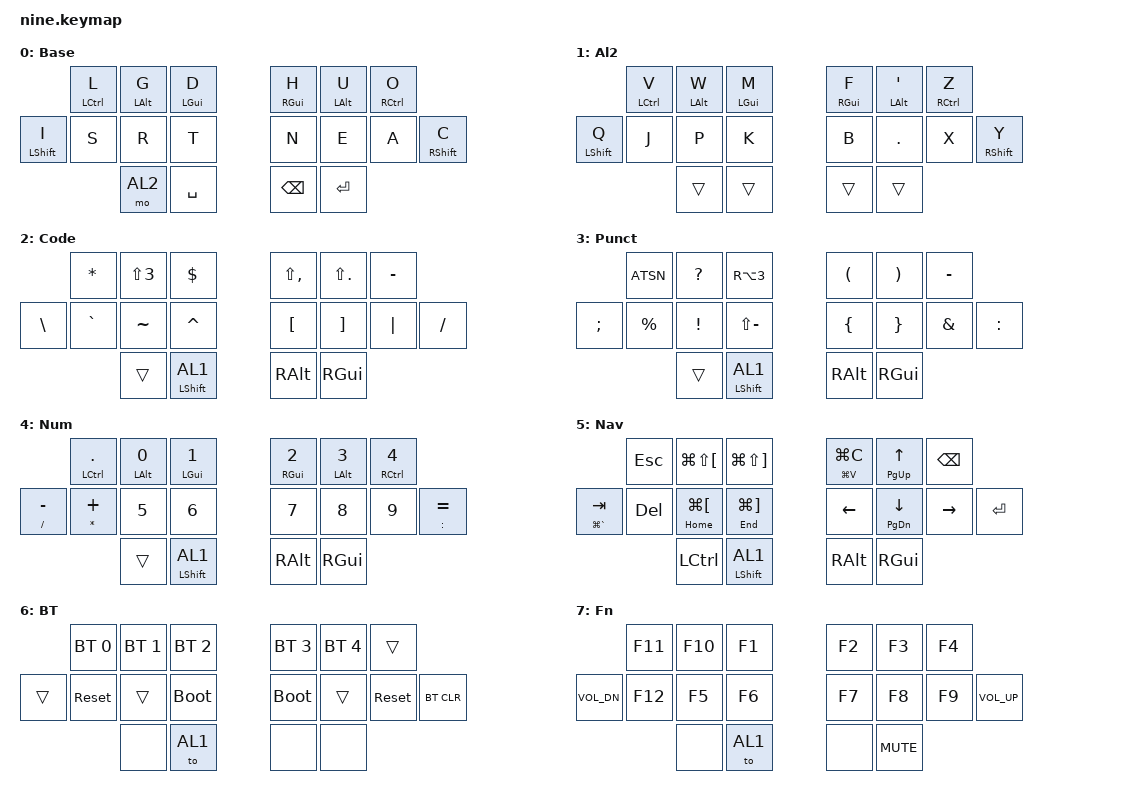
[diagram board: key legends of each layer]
/*
 * Copyright (c) 2020 The ZMK Contributors
 *
 * SPDX-License-Identifier: MIT
 */

#include <behaviors.dtsi>
#include <dt-bindings/zmk/keys.h>
#include <dt-bindings/zmk/bt.h>

&mt {
    tapping-term-ms = <201>;
    flavor = "tap-preferred";
 };
&sk {
     release-after-ms = <2000>;
     quick-release;
 };
&sl {
    release-after-ms = <2000>;
};

/* Layers */
#define AL1 0
#define AL2 1
#define SM1 2
#define SM2 3
#define NUM 4
#define SYS 5
#define BT 6
#define FUN 7
/ { 
    combos {
        compatible = "zmk,combos";
        combo_esc {
            timeout-ms = <30>;
            key-positions = <7 8 9>;
            bindings = <&kp ESC>;
        };
//        combo_sys {
//            timeout-ms = <30>;
//            key-positions = <3 4 5>;
//            bindings = <&to SYS>;
//        };
//        combo_caps {
//            timeout-ms = <30>;
//            key-positions = <10 11 12>;
//            bindings = <&caps_word>;
//        };
//        combo_num {
//            timeout-ms = <30>;
//            key-positions = <0 1 2>;
//            bindings = <&sl NUM>;
//        };
//        combo_al2 {
//            timeout-ms = <30>;
//            key-positions = <7 8 9>;
//            bindings = <&sl AL2>;
//        };
//        combo_bt  {
//            timeout-ms = <10>;
//            key-positions = <11 12>;
//            bindings = <&to BT>;
//            layers = <SM1>;
//        };
//        combo_fun  {
//            timeout-ms = <10>;
//            key-positions = <7 8>;
//            bindings = <&to FUN>;
//            layers = <AL1>;
//        };
    };

    behaviors {

        l2: l2 {
            compatible = "zmk,behavior-hold-tap";
            #binding-cells = <2>;
            tapping_term_ms = <135>;
            quick_tap_ms = <0>;
            flavor = "tap-preferred";
            bindings = <&kp>, <&kp>;
        };
        bhm: balanced_homerow_mods {
            compatible = "zmk,behavior-hold-tap";
            #binding-cells = <2>;
            tapping-term-ms = <250>;
            quick-tap-ms = <0>;
            flavor = "balanced";
            bindings = <&kp>, <&kp>;
        };
        hm_l: homerow_mods_left {
            compatible = "zmk,behavior-hold-tap";
            label = "HOMEROW_MODS_L";
            #binding-cells = <2>;
            tapping-term-ms = <300>;
            quick-tap-ms = <250>;
            flavor = "tap-preferred";
            bindings = <&kp>, <&kp>;
            hold-trigger-key-positions = <3 4 5 10 11 12 13 14>; // right hand
        };
        hm_r: homerow_mods_right {
            compatible = "zmk,behavior-hold-tap";
            label = "HOMEROW_MODS_R";
            #binding-cells = <2>;
            tapping-term-ms = <300>;
            quick-tap-ms = <250>;
            flavor = "tap-preferred";
            bindings = <&kp>, <&kp>;
        hold-trigger-key-positions = <0 1 2 6 7 8 9>; // left hand
        };
        sr: shift_layer {
            compatible = "zmk,behavior-hold-tap";
            label = "SHIFT_LAYER";
            #binding-cells = <2>;
            tapping-term-ms = <300>;
            quick_tap_ms = <0>;
            flavor = "tap-preferred";
            bindings = <&kp>, <&to>;
        retro-tap;
        };
        hl_l: homerow_layers_left {
            compatible = "zmk,behavior-hold-tap";
            label = "HOMEROW_LAYERS_L";
            #binding-cells = <2>;
            tapping-term-ms = <220>;
            quick-tap-ms = <250>;
            flavor = "tap-preferred";
            bindings = <&mo>, <&kp>;
        hold-trigger-key-positions = <3 4 5 10 11 12 13 14>; // right hand
        };
        hl_r: homerow_layers_right {
            compatible = "zmk,behavior-hold-tap";
            label = "HOMEROW_LAYERS_R";
            #binding-cells = <2>;
            tapping-term-ms = <220>;
            quick-tap-ms = <250>;
            flavor = "tap-preferred";
            bindings = <&mo>, <&kp>;
        hold-trigger-key-positions = <0 1 2 6 7 8 9>; // left hand
        };
    td: tapdance {
            compatible = "zmk,behavior-hold-tap";
            label = "TAPDANCE";
            #binding-cells = <2>;
            tapping-term-ms = <190>;
            quick-tap-ms = <250>;
            flavor = "tap-preferred";
            bindings = <&kp>, <&kp>;
        };
    stk_al2: stk-al2 {
            compatible = "zmk,behavior-hold-tap";
            label = "TEST";
            #binding-cells = <2>;
            flavor = "tap-preferred";
            tapping-term-ms = <300>;
            quick-tap-ms = <125>;
            global-quick-tap;
            bindings = <&kp>, <&sticky_alpha2>;
        };
    };

    macros {
        sticky_alpha2: sticky_alpha2 {
            compatible = "zmk,behavior-macro";
            #binding-cells = <0>;
            bindings
                = <&sl AL2>;
        };
    };
//                  0       1       2                   3       4           5
//          6       7       8       9                   10      11          12          13
//                          14      15                  16      17
       keymap {
                compatible = "zmk,keymap";
                
                alpha1 {
                label = "Base";
        bindings = <
                            &bhm LCTL L    &bhm LALT G     &bhm LGUI D                 &bhm RGUI H    &bhm LALT U        &bhm RCTL O
            &bhm LSHIFT I     &kp S     &kp R     &kp T                                 &kp N     &kp E         &kp A     &bhm RSHIFT C
                                             &mo AL2      &kp SPACE                  &kp BSPC &kp ENTER
                                             // &stk_al2 ESC 0      &hl_l NUM SPACE                  &hl_r SM1 BSPC &hl_r SM2 ENTER
        >;
        };
                alpha2 {
                label = "Al2";
        bindings = <
                    &bhm LCTL V       &bhm LALT W               &bhm LGUI M               &bhm RGUI F        &bhm LALT SQT         &bhm RCTL Z
        &bhm LSHIFT Q       &kp J       &kp P               &kp K               &kp B       &kp DOT         &kp X       &bhm RSHIFT Y
                                &trans             &trans      &trans      &trans
        >;
        };

                sym1 {
                label = "Code";
        bindings = <
                    &kp STAR    &kp LS(N3)  &kp DLLR                       &kp LS(COMMA)   &kp LS(DOT)     &kp MINUS
        &kp BSLH   &kp GRAVE    &kp TILDE   &kp CARET                      &kp LBKT        &kp RBKT        &kp PIPE    &kp SLASH
                                &trans      &sr LSHIFT AL1                 &kp RALT        &kp RGUI
        >;
        };
        sym2 {
        label = "Punct";
        bindings = <
                    &kp ATSN    &kp QMARK        &kp RA(N3)                &kp LPRN    &kp RPRN    &kp MINUS
        &kp SEMI    &kp PRCNT   &kp EXCL         &kp LS(MINUS)             &kp LBRC    &kp RBRC    &kp AMPS    &kp COLON
                                &trans          &sr LSHIFT AL1             &kp RALT    &kp RGUI

        >;
        };

        num {
        label = "Num";
        bindings = <
                          &hm_l LCTL DOT      &hm_l LALT N0   &hm_l LGUI N1       &hm_r RGUI N2   &hm_r LALT N3    &hm_r RCTL N4
        &td SLASH MINUS   &td STAR PLUS       &kp N5          &kp N6              &kp N7          &kp N8           &kp N9         &td COLON EQUAL
                                              &trans          &sr LSHIFT AL1      &kp RALT        &kp RGUI
        >;
        };

        sys {
        label = "Nav";
        bindings = <
                            &kp ESC        &kp LG(LS(LBKT))    &kp LG(LS(RBKT))         &td LG(V) LG(C)     &td PG_UP UP    &kp BKSP
        &td LG(GRAVE) TAB   &kp DEL        &td HOME LG(LBKT)   &td END LG(RBKT)         &kp LEFT            &td PG_DN DOWN  &kp RIGHT   &kp RET
                                           &kp LCTL            &sr LSHIFT AL1           &kp RALT            &kp RGUI
        >;
        };

        bt {
        label = "BT";
        bindings = <
                  &bt BT_SEL 0    &bt BT_SEL 1  &bt BT_SEL 2           &bt BT_SEL 3     &bt BT_SEL 4   &trans
        &trans    &sys_reset          &trans        &bootloader            &bootloader      &trans         &sys_reset  &bt BT_CLR
                                  &none         &to AL1                &none     &none
        >;
        };
        fun {
        label = "Fn";
            bindings = <
                     &kp F11   &kp F10   &kp F1           &kp F2   &kp F3   &kp F4
     &kp C_VOL_DN    &kp F12   &kp F5    &kp F6           &kp F7   &kp F8   &kp F9  &kp C_VOL_UP
                               &none     &to AL1          &none    &kp C_MUTE
                >;
        };
    };
};
